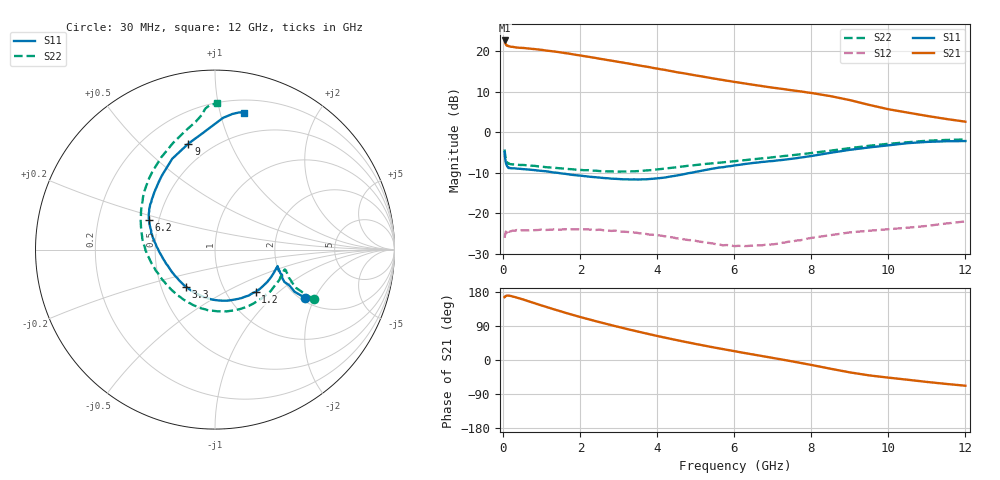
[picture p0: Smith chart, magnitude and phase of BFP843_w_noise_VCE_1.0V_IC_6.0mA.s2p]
! Infineon Technologies  Discrete & RF Semiconductors
! BFP843
! VCE =  1.0 V,  IC =  6.0 mA
! Common Emitter S-Parameters:  Aug 2013
# GHz  S  MA  R  50
!  f  S11  S21  S12  S22
! GHz  MAG  ANG  MAG  ANG  MAG  ANG  MAG  ANG
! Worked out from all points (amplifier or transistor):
!   103 points, 30 MHz to 12 GHz, reference 50 ohm
!   highest |S21| = 22.6 dB at 30 MHz (marker M1)
!   |S21| within 3 dB of that: start of sweep to 1.524 GHz
!   unconditionally stable (mu >= 1): 144.2 MHz to 929.3 MHz; 2.016 GHz to 11.23 GHz
!   at 400 MHz: K = 1.01, MAG = 21.9 dB, |S12| = -24.3 dB
!   at 3.7 GHz: K = 1.23, MAG = 17.7 dB, |S12| = -25.0 dB
!   at 12 GHz: K = 0.89, MSG = 12.3 dB, |S12| = -22.0 dB
!   lowest NFmin = 0.92 dB at 450 MHz
!   S11 on the Smith chart (normalised r, x): 30 MHz: 2.11, -1.69; 1.2 GHz: 1.36, -0.72; 3.3 GHz: 0.67, -0.30; 6.2 GHz: 0.44, +0.17; 9 GHz: 0.38, +0.71; 12 GHz: 0.30, +1.19
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0.03  0.5717 -28.2  13.56 165.8  0.05 34.2  0.6145 -26.6
0.04  0.5017 -27.9  12.85 166.4  0.0542 25.7  0.5474 -26.1
0.05  0.46 -25.7  12.44 168.5  0.0553 17.1  0.5007 -25.3
0.07  0.4057 -22.8  11.9 169.4  0.0587 14.9  0.4527 -21.8
0.13  0.3705 -16.6  11.58 170.2  0.0615 8.1  0.4095 -16.6
0.3  0.3597 -15.6  11.17 166.1  0.0612 3.3  0.4001 -17.8
0.7  0.3459 -28.2  10.73 153.4  0.0619 -0.5  0.3877 -32.7
1  0.3343 -38.9  10.37 143.6  0.0634 -2.0  0.3775 -45.5
1.2  0.3262 -46.2  10.07 137.3  0.0629 -3.6  0.3689 -54.2
1.6  0.308 -61.2  9.483 124.9  0.064 -6.5  0.3569 -71.1
2.1  0.2887 -80.6  8.687 110.5  0.0636 -9.9  0.3409 -91.8
2.6  0.2735 -99.9  7.942 97.2  0.0621 -14.2  0.3323 -111.2
3.3  0.2624 -127.6  6.975 79.6  0.0587 -19.3  0.3304 -137.5
4.1  0.2739 -157.1  5.97 61.1  0.0532 -22.8  0.353 -163.2
5  0.3261 176.9  5.022 42.2  0.0459 -23.0  0.3953 176.6
6.1  0.396 157.5  4.121 21.4  0.0399 -14.4  0.446 158.2
6.2  0.4019 156.0  4.046 19.6  0.0397 -12.7  0.451 156.6
7.3  0.4602 138.0  3.399 -0.0  0.0438 -2.8  0.5111 140.2
8.5  0.5596 115.2  2.791 -23.1  0.054 -0.3  0.5945 120.3
9  0.6087 104.1  2.494 -32.7  0.0584 -2.3  0.639 111.4
10.5  0.7353 86.5  1.751 -52.1  0.0667 -7.2  0.7544 95.6
12  0.7808 78.0  1.353 -67.9  0.0798 -13.5  0.8157 89.3
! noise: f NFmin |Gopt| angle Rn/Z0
0.45  0.92  0.15  7  0
0.9  0.93  0.15  17  0.03
1.5  0.96  0.15  27  0.1
1.9  0.99  0.13  40  0.18
2.4  1.03  0.11  49  0.25
3.5  1.1  0.09  63  0.29
5.5  1.25  0.14  -148  0.37
10  1.97  0.51  -72  0.43
